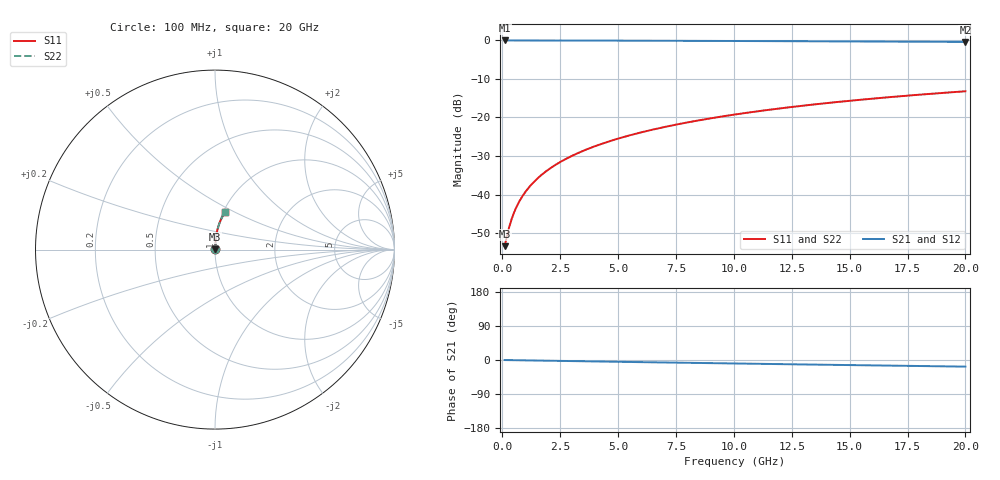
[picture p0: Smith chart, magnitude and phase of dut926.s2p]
! Touchstone file exported from HFSS 2024.1.0
!  File:  C:/UserFiles/LocalFiles/RDL_TSV_Batchsim/temp_RDL_top_926_1779936812.aedt
!  Generated:  10:56:44 AM May 28, 2026
!  Design:  RDL_top
!  Project:  temp_RDL_top_926_1779936812
!  Setup:  Setup1
!  Solution:  Sweep
! Variables:
!  dtsv = 10.80580581um
!  hbump = 3um
!  htsv = 98.03um
!  ldown = 100um
!  lrdl = 186um
!  p = 40
!  p1 = 50.04um
!  rhole = 1um
!  t = 450um
!  tdown = 3.915915916um
!  trdl = 2.56um
!  wdown = 15.38538539um
!  wrdl = 16.53um
# GHz S MA R 50.000000
! Terminal data exported
! Port[1] = Box2_T1
! Port[2] = Box2_T2
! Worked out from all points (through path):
!   200 points, 100 MHz to 20 GHz, reference 50 ohm
!   highest |S21| = -0.02 dB at 100 MHz (marker M1); lowest = -0.4 dB at 20 GHz (marker M2)
!   group delay of S21, straight-line fit = 2.42 ps
!   lowest |S11| = -53.4 dB at 100 MHz (marker M3), VSWR 1.00, Z = 50.2 + j0.111 ohm
!   |S11| at or under -10 dB: start of sweep to end of sweep
!   |S22| runs from -53.4 to -13.2 dB; largest |S21 - S12| = 3e-15
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0.1  0.002138 31.1  0.9982 -0.1  0.9982 -0.1  0.002138 31.1
! Gamma 0 0 0 0
! Port Impedance 50 0 50 0
0.2  0.002881 49.8  0.9981 -0.2  0.9981 -0.2  0.002881 49.8
0.3  0.003795 60.0  0.9981 -0.3  0.9981 -0.3  0.003795 60.0
0.4  0.00477 65.9  0.998 -0.4  0.998 -0.4  0.00477 65.9
0.5  0.005768 69.8  0.998 -0.5  0.998 -0.5  0.005768 69.8
0.6  0.006775 72.5  0.9979 -0.6  0.9979 -0.6  0.006775 72.5
0.8  0.008802 76.1  0.9978 -0.8  0.9978 -0.8  0.008802 76.1
1.1  0.01186 79.3  0.9976 -1.1  0.9976 -1.1  0.01186 79.3
1.5  0.01598 81.7  0.9973 -1.4  0.9973 -1.4  0.01598 81.7
1.8  0.01909 82.8  0.9971 -1.7  0.9971 -1.7  0.01909 82.8
2.1  0.02221 83.6  0.9969 -2.0  0.9969 -2.0  0.02221 83.6
2.7  0.02851 84.6  0.9963 -2.6  0.9963 -2.6  0.02851 84.6
3.5  0.03699 85.3  0.9953 -3.3  0.9953 -3.3  0.03699 85.3
4.2  0.04449 85.6  0.9943 -4.0  0.9943 -4.0  0.04448 85.6
5  0.05314 85.6  0.993 -4.7  0.993 -4.7  0.05314 85.6
5.9  0.06298 85.4  0.9914 -5.6  0.9914 -5.6  0.06298 85.4
6.8  0.07292 85.1  0.9896 -6.4  0.9896 -6.4  0.07292 85.1
8.3  0.08964 84.4  0.9864 -7.7  0.9864 -7.7  0.08964 84.4
10.1  0.1099 83.2  0.9822 -9.3  0.9822 -9.3  0.1099 83.2
13.4  0.1469 80.6  0.9739 -12.1  0.9739 -12.1  0.1469 80.6
16.7  0.1833 77.8  0.965 -14.8  0.965 -14.8  0.1833 77.8
20  0.2187 75.0  0.9555 -17.5  0.9555 -17.5  0.2187 75.0
